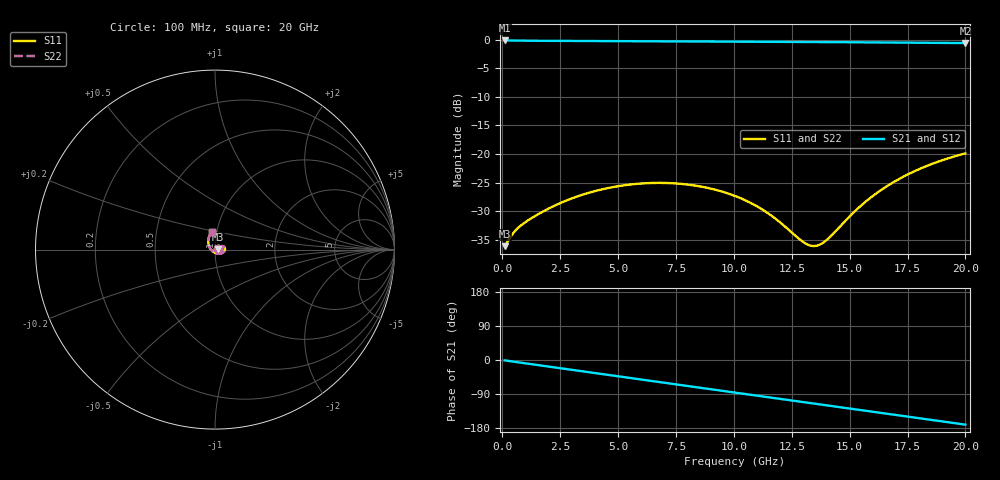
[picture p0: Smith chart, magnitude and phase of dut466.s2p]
! Touchstone file exported from HFSS 2026.1.0
!  File:  C:/ffzhzh/LocalFiles/Ansys_Project_Files/temp_train_TSV_RDL_466_1783102172_50312.aedt
!  Generated:  02:18:27 AM Jul  4, 2026
!  Design:  TSV_RDL
!  Project:  temp_train_TSV_RDL_466_1783102172_50312
! Variables:
!  h_bsmrdl = 2.58um
!  h_ox = 20um
!  h_rdl = 5um
!  h_sub = 77.99um
!  h_tmrdl = 2.74um
!  h_tsv = 77.99um
!  h_via = 3um
!  l_bsmrdl = 149.69um
!  l_sub = 2412.52um
!  l_tmrdl = 365.82um
!  m_sub = 200um
!  pitch = 28.95um
!  r_tsv = 12.16um
!  s_tmrdl = 10um
!  w_bsmrdl = 12.52um
!  w_sub = 500um
!  w_tmrdl = 20.87um
!  x_tsv_center1 = 376.255um
!  x_tsv_center2 = 538.465um
!  x_tsv_center3 = 925.155um
!  x_tsv_center4 = 1087.365um
!  x_tsv_center5 = 1474.055um
!  x_tsv_center6 = 1636.265um
# GHz S MA R 50.000000
! Terminal data exported
! Port[1] = TM_RDL1_1_T1
! Port[2] = TM_RDL5_1_T1
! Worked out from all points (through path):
!   200 points, 100 MHz to 20 GHz, reference 50 ohm
!   highest |S21| = -0.14 dB at 100 MHz (marker M1); lowest = -0.6 dB at 20 GHz (marker M2)
!   group delay of S21, straight-line fit = 23.7 ps
!   lowest |S11| = -36.1 dB at 100 MHz (marker M3), VSWR 1.03, Z = 51.6 + j0.227 ohm
!   |S11| at or under -10 dB: start of sweep to end of sweep
!   |S22| runs from -36.1 to -19.9 dB; largest |S21 - S12| = 4.2e-14
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0.1  0.01565 8.1  0.9845 -0.9  0.9845 -0.9  0.01565 8.1
! Gamma 0 0 0 0
! Port Impedance 50 0 50 0
0.4  0.01946 20.8  0.9822 -3.7  0.9822 -3.7  0.01946 20.8
0.6  0.02179 23.5  0.9808 -5.4  0.9808 -5.4  0.02179 23.5
1.1  0.02622 27.0  0.9787 -9.7  0.9787 -9.7  0.02622 27.0
2.3  0.03569 29.7  0.976 -20.0  0.976 -20.0  0.03569 29.7
3.5  0.04433 26.5  0.9737 -30.2  0.9737 -30.2  0.04435 26.4
5.1  0.05273 17.4  0.9707 -43.9  0.9707 -43.9  0.05276 17.3
6.8  0.05595 4.5  0.9675 -58.4  0.9675 -58.4  0.05601 4.4
8.5  0.0523 -10.9  0.9643 -72.9  0.9643 -72.9  0.05239 -11.1
9.3  0.04817 -19.2  0.9628 -79.7  0.9628 -79.7  0.04828 -19.4
10.1  0.04261 -28.6  0.9613 -86.5  0.9613 -86.5  0.04274 -28.8
11.3  0.03206 -46.5  0.959 -96.7  0.959 -96.7  0.03223 -46.7
11.9  0.02621 -59.0  0.9578 -101.8  0.9578 -101.8  0.02641 -59.3
12.9  0.01758 -93.9  0.9556 -110.3  0.9556 -110.3  0.01785 -94.0
13.2  0.01612 -110.0  0.9549 -112.9  0.9549 -112.9  0.0164 -109.9
13.4  0.01571 -122.0  0.9544 -114.6  0.9544 -114.6  0.01598 -121.7
13.7  0.01609 -140.5  0.9536 -117.1  0.9536 -117.1  0.01633 -139.9
14  0.01766 -157.5  0.9529 -119.7  0.9529 -119.7  0.01786 -156.8
15.5  0.03551 153.3  0.9487 -132.5  0.9487 -132.5  0.03555 153.9
16.7  0.05375 133.9  0.945 -142.7  0.945 -142.7  0.05373 134.3
18.2  0.07671 116.1  0.9401 -155.4  0.9401 -155.4  0.07666 116.4
20  0.1013 98.0  0.9341 -170.6  0.9341 -170.6  0.1013 98.2
